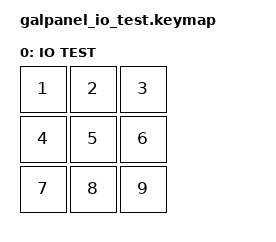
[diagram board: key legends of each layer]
/* GALPANEL nine-key GPIO test: 3 mechanical + 4 side + SYS + EC11 press. */

#include <behaviors.dtsi>
#include <dt-bindings/zmk/keys.h>

/ {
    keymap {
        compatible = "zmk,keymap";

        io_test_layer {
            display-name = "IO TEST";

            /* D2 FAST, D3 AUTO, D4 NEXT, D5 QSAVE (right upper),
             * D7 DESKTOP (right lower), D8 SYS, D14 FN (left lower),
             * D18 QLOAD (left upper), D19 EC11_SW. */
            bindings = <
                &kp N1 &kp N2 &kp N3
                &kp N4 &kp N5 &kp N6
                &kp N7 &kp N8 &kp N9
            >;
        };
    };
};
